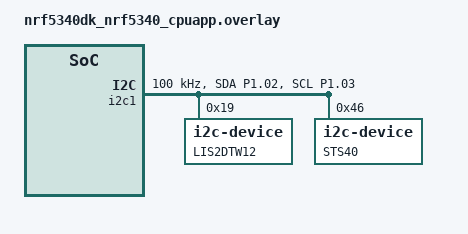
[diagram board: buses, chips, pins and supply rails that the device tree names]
&pinctrl {
	i2c1_default_alt: i2c1_default_alt {
		group2 {
			psels = <NRF_PSEL(TWIM_SDA, 1, 02)>, <NRF_PSEL(TWIM_SCL, 1, 03)>;
			//bias-pull-up;
		};
	};

	i2c1_default_sleep: i2c1_default_sleep {
		group3 {
			psels = <NRF_PSEL(TWIM_SDA, 1, 02)>, <NRF_PSEL(TWIM_SCL, 1, 03)>;
			low-power-enable;
		};
	};
};


&i2c1 {
	status = "okay";
	compatible = "nordic,nrf-twim";
	pinctrl-0 = <&i2c1_default_alt>;
	pinctrl-1 = <&i2c1_default_sleep>;
	pinctrl-names = "default", "sleep";
	clock-frequency = < I2C_BITRATE_STANDARD >;
    lis2dtw12: lis2dtw12@19 {
        compatible = "i2c-device";
        status = "okay"; // https://devzone.nordicsemi.com/f/nordic-q-a/107801/usage-of-interrupts-from-i2c-device
		reg = <0x19>; // https://community.st.com/t5/mems-sensors/dts-configuration-for-lis2dw12/td-p/148824
		label = "LIS2DTW12";
	};

	sts40: sts40@46 {    /* STS40 I2C address is 0x46 */
        compatible = "i2c-device";
        status = "okay";
        reg = <0x46>;
        label = "STS40";

    };
};
